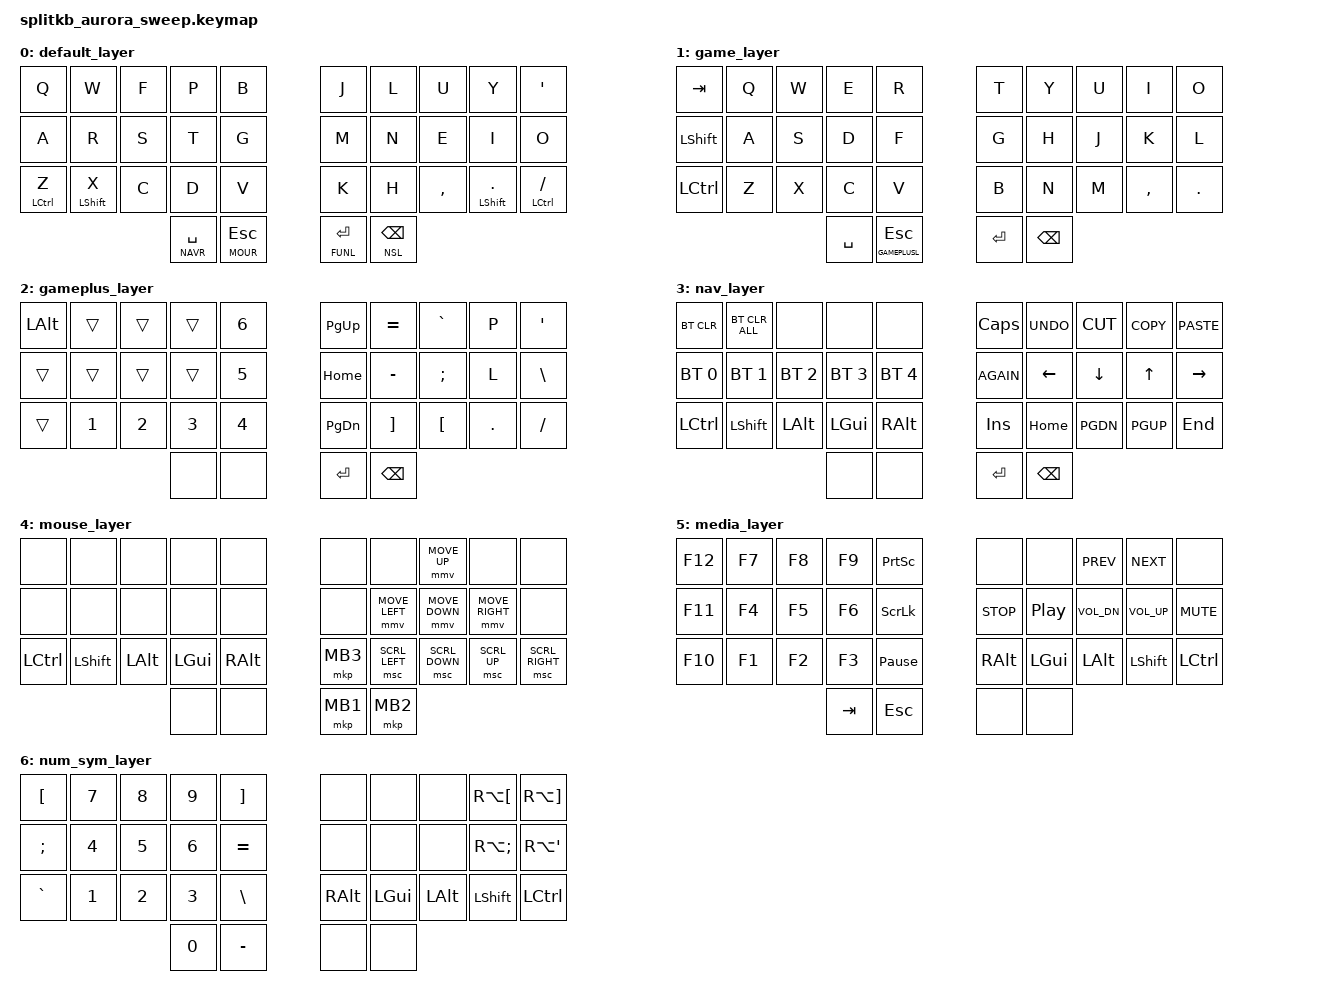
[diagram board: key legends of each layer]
// Import default behavior definitions
#include <behaviors.dtsi>
// Import standard keyboard keycode definitions
#include <dt-bindings/zmk/keys.h>
// Import experimental mouse emulation keycode definitions with timing settings
#define ZMK_POINTING_DEFAULT_MOVE_VAL 1200
#define ZMK_POINTING_DEFAULT_SCRL_VAL 20
#include <dt-bindings/zmk/pointing.h>
// Bluetooth profile keys (BT_CLR, BT_SEL)
#include <dt-bindings/zmk/bt.h>

#define BASE       0
#define GAMEL      1
#define GAMEPLUSL  2
#define NAVR       3
#define MOUR       4
#define FUNL       5
#define NSL        6

/ {
  behaviors {
    hm: homerow_mods {
      compatible = "zmk,behavior-hold-tap";
      #binding-cells = <2>;
      tapping-term-ms = <150>;
      quick-tap-ms = <0>;
      require-prior-idle-ms = <100>;
      flavor = "tap-preferred";
      bindings = <&kp>, <&kp>;
    };

    lt_custom: layer_tap {
      compatible = "zmk,behavior-hold-tap";
      #binding-cells = <2>;
      tapping-term-ms = <150>;
      quick-tap-ms = <0>;
      flavor = "balanced";
      bindings = <&mo>, <&kp>;
    };
  };

  combos {
    compatible = "zmk,combos";
    combo_opar { timeout-ms = <160>; key-positions = <13 14>; bindings = <&kp LPAR>; layers = <BASE>; };
    combo_cpar { timeout-ms = <160>; key-positions = <15 16>; bindings = <&kp RPAR>; layers = <BASE>; };
    combo_obra { timeout-ms = <160>; key-positions = <23 24>; bindings = <&kp LBKT>; layers = <BASE>; };
    combo_cbra { timeout-ms = <160>; key-positions = <25 26>; bindings = <&kp RBKT>; layers = <BASE>; };
    combo_gt { timeout-ms = <160>; key-positions = <5 6>; bindings = <&kp GT>; layers = <BASE>; };
    combo_lt { timeout-ms = <160>; key-positions = <3 4>; bindings = <&kp LT>; layers = <BASE>; };
    combo_minus { timeout-ms = <160>; key-positions = <4 14>; bindings = <&kp MINUS>; layers = <BASE>; };
    combo_equal { timeout-ms = <160>; key-positions = <5 15>; bindings = <&kp EQUAL>; layers = <BASE>; };
    combo_super_l { timeout-ms = <160>; key-positions = <13 23>; bindings = <&kp LGUI>; layers = <BASE>; };
    combo_super_r { timeout-ms = <160>; key-positions = <16 26>; bindings = <&kp LGUI>; layers = <BASE>; };
    combo_lalgr_l { timeout-ms = <160>; key-positions = <14 24>; bindings = <&kp RALT>; layers = <BASE>; };
    combo_lalgr_r { timeout-ms = <160>; key-positions = <15 25>; bindings = <&kp RALT>; layers = <BASE>; };
    combo_lalt_l { timeout-ms = <160>; key-positions = <12 22>; bindings = <&kp LALT>; layers = <BASE>; };
    combo_lalt_r { timeout-ms = <160>; key-positions = <17 27>; bindings = <&kp LALT>; layers = <BASE>; };
    combo_tab { timeout-ms = <160>; key-positions = <0 1>; bindings = <&kp TAB>; layers = <BASE>; };
    combo_del { timeout-ms = <160>; key-positions = <8 9>; bindings = <&kp DEL>; layers = <BASE>; };
    combo_gamem_on { timeout-ms = <160>; key-positions = <32 33>; bindings = <&to GAMEL>; layers = <BASE>; };
    combo_gamem_off { timeout-ms = <160>; key-positions = <32 33>; bindings = <&to BASE>; layers = <GAMEL>; };
  };

  keymap {
    compatible = "zmk,keymap";

    default_layer {
      bindings = <
        &kp Q       &kp W       &kp F      &kp P      &kp B           &kp J        &kp L        &kp U        &kp Y       &kp SQT
        &kp A       &kp R       &kp S      &kp T      &kp G           &kp M        &kp N        &kp E        &kp I       &kp O
        &hm LCTRL Z &hm LSHFT X &kp C      &kp D      &kp V           &kp K        &kp H        &kp COMMA    &hm LSHFT DOT &hm LCTRL FSLH
                                &lt_custom NAVR SPACE &lt_custom MOUR ESC  &lt_custom FUNL RET  &lt_custom NSL BSPC
      >;
    };

    game_layer {
      bindings = <
        &kp TAB     &kp Q       &kp W      &kp E      &kp R           &kp T        &kp Y        &kp U        &kp I       &kp O
        &kp LSHFT   &kp A       &kp S      &kp D      &kp F           &kp G        &kp H        &kp J        &kp K       &kp L
        &kp LCTRL   &kp Z       &kp X      &kp C      &kp V           &kp B        &kp N        &kp M        &kp COMMA   &kp DOT
                                &kp SPACE  &lt_custom GAMEPLUSL ESC   &kp RET      &kp BSPC
      >;
    };

    gameplus_layer {
      bindings = <
        &kp LALT    &trans      &trans     &trans     &kp N6          &kp PG_UP    &kp EQUAL    &kp GRAVE    &kp P       &kp SQT
        &trans      &trans      &trans     &trans     &kp N5          &kp HOME     &kp MINUS    &kp SEMI     &kp L       &kp BSLH
        &trans      &kp N1      &kp N2     &kp N3     &kp N4          &kp PG_DN    &kp RBKT     &kp LBKT     &kp DOT     &kp FSLH
                                &none      &none                      &kp RET      &kp BSPC
      >;
    };

    nav_layer {
      // Left hand: Bluetooth. BT_CLR drops the active profile's bond (the
      // host must then be re-paired), BT_CLR_ALL every profile's, BT_SEL n
      // switches profile (each has its own address, so hosts see a new device).
      bindings = <
        &bt BT_CLR   &bt BT_CLR_ALL &none      &none        &none           &kp CAPS     &kp K_UNDO   &kp K_CUT    &kp K_COPY  &kp K_PASTE
        &bt BT_SEL 0 &bt BT_SEL 1   &bt BT_SEL 2 &bt BT_SEL 3 &bt BT_SEL 4  &kp K_AGAIN  &kp LEFT     &kp DOWN     &kp UP      &kp RIGHT
        &kp LCTRL   &kp LSHFT   &kp LALT   &kp LGUI   &kp RALT        &kp INS      &kp HOME     &kp PGDN     &kp PGUP    &kp END
                                &none      &none                      &kp RET      &kp BSPC
      >;
    };

    mouse_layer {
      bindings = <
        &none       &none       &none      &none      &none           &none        &none          &mmv MOVE_UP   &none          &none
        &none       &none       &none      &none      &none           &none        &mmv MOVE_LEFT &mmv MOVE_DOWN &mmv MOVE_RIGHT &none
        &kp LCTRL   &kp LSHFT   &kp LALT   &kp LGUI   &kp RALT        &mkp MB3     &msc SCRL_LEFT &msc SCRL_DOWN &msc SCRL_UP   &msc SCRL_RIGHT
                                &none      &none                      &mkp MB1     &mkp MB2
      >;
    };

    media_layer {
      bindings = <
        &kp F12     &kp F7      &kp F8     &kp F9     &kp PSCRN       &none        &none        &kp C_PREV   &kp C_NEXT  &none
        &kp F11     &kp F4      &kp F5     &kp F6     &kp SLCK        &kp C_STOP   &kp C_PP     &kp C_VOL_DN &kp C_VOL_UP &kp C_MUTE
        &kp F10     &kp F1      &kp F2     &kp F3     &kp PAUSE_BREAK &kp RALT     &kp LGUI     &kp LALT     &kp LSHFT   &kp LCTRL
                                &kp TAB    &kp ESC                    &none        &none
      >;
    };

    num_sym_layer {
      bindings = <
        &kp LBKT    &kp N7      &kp N8     &kp N9     &kp RBKT        &none        &none        &none        &kp RA(LBKT) &kp RA(RBKT)
        &kp SEMI    &kp N4      &kp N5     &kp N6     &kp EQUAL       &none        &none        &none        &kp RA(SEMI) &kp RA(SQT)
        &kp GRAVE   &kp N1      &kp N2     &kp N3     &kp BSLH        &kp RALT     &kp LGUI     &kp LALT     &kp LSHFT   &kp LCTRL
                                &kp N0     &kp MINUS                  &none        &none
      >;
    };
  };
};
